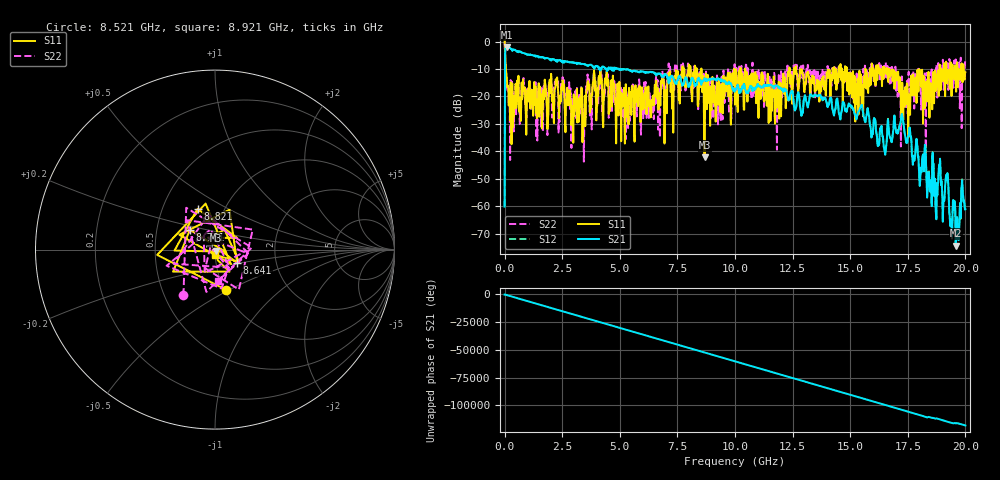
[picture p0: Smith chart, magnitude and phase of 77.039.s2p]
! Created with skrf 1.9.0 (http://scikit-rf.org).
# Hz S RI R 50.0
!freq ReS11 ImS11 ReS21 ImS21 ReS12 ImS12 ReS22 ImS22
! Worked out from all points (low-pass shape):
!   1001 points, 1 MHz to 20 GHz, reference 50 ohm
!   highest |S21| = -1.96 dB at 121 MHz (marker M1); lowest = -74.3 dB at 19.58 GHz (marker M2)
!   |S21| within 3 dB of the highest: 20.84 MHz to 1.178 GHz (1.157 GHz wide, 193 % of centre); 1.184 GHz to 1.215 GHz (30.64 MHz wide, 2.56 % of centre)
!   lowest |S11| = -42.2 dB at 8.681 GHz (marker M3), VSWR 1.02, Z = 50.5 - j0.588 ohm
!   |S11| at or under -10 dB: 57.1 MHz to 7.705 GHz (7.648 GHz wide, 197 % of centre); 10.44 GHz to 12.36 GHz (1.914 GHz wide, 16.8 % of centre); 16.7 GHz to 18.87 GHz (2.173 GHz wide, 12.2 % of centre) (the widest 3 of 42)
!   |S22| runs from -44.7 to -0.2 dB; largest |S21 - S12| = 0.021
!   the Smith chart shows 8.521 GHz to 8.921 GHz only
!   S11 on the Smith chart (normalised r, x): 8.521 GHz: 1.02, -0.48; 8.641 GHz: 1.26, -0.19; 8.761 GHz: 0.74, +0.17; 8.821 GHz: 0.75, +0.36; 8.921 GHz: 1.00, -0.06
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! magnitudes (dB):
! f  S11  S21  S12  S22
! 1 MHz  0.4  -60.2  -60.1  -0.2
! 121 MHz  -16.5  -2.0  -1.9  -17.9
! 401 MHz  -27.1  -2.9  -2.9  -32.7
! 2.261 GHz  -15.9  -6.9  -6.9  -13.6
! 3.341 GHz  -16.8  -8.2  -8.2  -19.8
! 4.141 GHz  -11.4  -10.2  -10.0  -12.3
! 5.261 GHz  -15.5  -10.2  -10.2  -35.5
! 6.681 GHz  -24.9  -11.7  -11.6  -24.8
! 7.161 GHz  -12.2  -14.1  -14.1  -13.5
! 8.521 GHz  -12.6  -15.2  -15.4  -10.2
! 8.641 GHz  -16.8  -14.3  -14.3  -11.7
! 8.681 GHz  -42.2  -13.3  -13.3  -30.6
! 8.761 GHz  -15.0  -13.6  -13.4  -18.8
! 8.821 GHz  -12.1  -14.0  -13.7  -14.1
! 8.921 GHz  -30.7  -14.0  -14.0  -15.1
! 10 GHz  -23.0  -17.3  -17.9  -9.3
! 11.82 GHz  -19.8  -16.0  -16.0  -39.4
! 13.34 GHz  -15.0  -19.9  -19.5  -14.4
! 16.68 GHz  -10.0  -32.9  -33.0  -9.6
! 17.24 GHz  -16.5  -26.4  -26.4  -12.7
! 19.58 GHz  -12.1  -74.3  -74.6  -6.5
! 20 GHz  -11.2  -61.1  -60.3  -6.1
